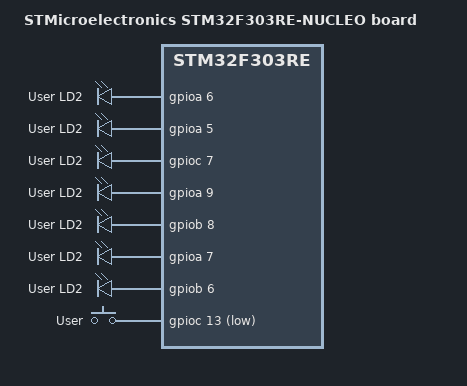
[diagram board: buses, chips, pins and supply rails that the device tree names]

/ {
	model = "STMicroelectronics STM32F303RE-NUCLEO board";
	compatible = "st,stm32f303re-nucleo";

	chosen {
		zephyr,console = &usart2;
		zephyr,shell-uart = &usart2;
		zephyr,sram = &sram0;
		zephyr,flash = &flash0;
		zephyr,canbus = &can1;
	};

	leds: leds {
		compatible = "gpio-leds";
	    
        led_a: led_a {
			gpios = <&gpioa 6 GPIO_ACTIVE_HIGH>;
			label = "User LD2";
		};

		led_b: led_b {
			gpios = <&gpioa 5 GPIO_ACTIVE_HIGH>;
			label = "User LD2";
		};

        led_c: led_c {
			gpios = <&gpioc 7 GPIO_ACTIVE_HIGH>;
			label = "User LD2";
		};

        led_d: led_d {
			gpios = <&gpioa 9 GPIO_ACTIVE_HIGH>;
			label = "User LD2";
		};

        led_e: led_e {
			gpios = <&gpiob 8 GPIO_ACTIVE_HIGH>;
			label = "User LD2";
		};

        led_f: led_f {
			gpios = <&gpioa 7 GPIO_ACTIVE_HIGH>;
			label = "User LD2";
		};

        led_g: led_g {
			gpios = <&gpiob 6 GPIO_ACTIVE_HIGH>;
			label = "User LD2";
		};
	};

	gpio_keys {
		compatible = "gpio-keys";
		user_button: button {
			label = "User";
			gpios = <&gpioc 13 GPIO_ACTIVE_LOW>;
			zephyr,code = <INPUT_KEY_0>;
		};
	};

	aliases {
        leda = &led_a;
		ledb = &led_b;
        ledc = &led_c;
        ledd = &led_d;
        lede = &led_e;
        ledf = &led_f;
        ledg = &led_g;

		sw0 = &user_button;
	};
};
